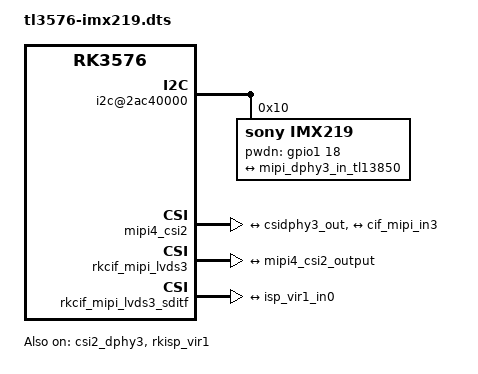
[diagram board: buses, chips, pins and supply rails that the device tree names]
/dts-v1/;
/plugin/;

/ {
    compatible = "rockchip,rk3576";

    // 1. 动态创建IMX219参考时钟（唯一需要新增的节点，因基础设备树无此时钟）
    fragment@0 {
        target-path = "/";  // 向根节点添加新时钟
        __overlay__ {
            // 关键：添加label（imx219_clk:），确保后续可通过&imx219_clk引用
            imx219_clk: imx219-clk {
                compatible = "fixed-clock";
                #clock-cells = <0>;
                clock-frequency = <24000000>;  // 24MHz
                clock-output-names = "imx219_clk";
                status = "okay";
            };
        };
    };

    // 2. 修改基础设备树中的I2C1节点（启用+添加摄像头子节点）
    fragment@1 {
        // 关键：target指向基础设备树中的i2c1节点（需确认基础设备树中该节点存在）
        // 若基础设备树中i2c1的路径是/i2c@2ac40000，需改为target-path = "/i2c@2ac40000"
        // target = <&i2c1>;
        target-path = "/i2c@2ac40000";
        __overlay__ {
            status = "okay";  // 启用I2C1控制器
            #address-cells = <1>;
            #size-cells = <0>;

            // 向I2C1节点添加IMX219摄像头子节点（这是合法的overlay修改）
            imx219@10 {
                status = "okay";
                compatible = "sony,imx219";
                reg = <0x10>;  // 摄像头I2C地址
                clocks = <&imx219_clk>;  // 引用上面定义的时钟（label有效）
                clock-names = "xclk";
                pwdn-gpios = <&gpio1 18 0>;  // 确认GPIO引脚与硬件匹配
                power-domains = <&power 15>;
                rockchip,camera-module-index = <1>;
                rockchip,camera-module-facing = "back";
                rockchip,camera-module-name = "CMK-OT1980-PX1";
                rockchip,camera-module-lens-name = "SHG102";

                port {
                    #address-cells = <1>;
                    #size-cells = <0>;
                    camera2_out: endpoint@0 {
                        reg = <0>;
                        link-frequencies = /bits/ 64 <456000000>;
                        remote-endpoint = <&mipi_dphy3_in_tl13850>;  // 引用DPHY的输入端点
                        data-lanes = <1 2 3 4>;  // 2条MIPI数据通道
                    };
                };
            };
        };
    };

    // 3. 修改基础设备树中的csi2_dphy3节点（启用+配置端口）
    fragment@2 {
        target = <&csi2_dphy3>;  // 指向基础设备树中的MIPI DPHY3节点
        __overlay__ {
            status = "okay";  // 启用DPHY3
            ports {
                #address-cells = <1>;
                #size-cells = <0>;
                port@0 {
                    reg = <0>;
                    #address-cells = <1>;
                    #size-cells = <0>;
                    mipi_dphy3_in_tl13850: endpoint@0 {
                    reg = <0>;
                    remote-endpoint = <&camera2_out>;
                    data-lanes = <1 2 3 4>;
                    };
                };
                port@1 {
                    reg = <1>;
                    #address-cells = <1>;
                    #size-cells = <0>;
                    csidphy3_out: endpoint@0 {
                            reg = <0>;
                            remote-endpoint = <&mipi4_csi2_input>;
                    };
                };
            };
        };
    };

    // 4. 修改基础设备树中的mipi4_csi2节点（启用+配置端口）
    fragment@3 {
        target = <&mipi4_csi2>;  // 指向基础设备树中的MIPI CSI2控制器节点
        __overlay__ {
            status = "okay";  // 启用CSI2控制器
            ports {
                #address-cells = <1>;
                #size-cells = <0>;
                 port@0 {
                    reg = <0>;
                    #address-cells = <1>;
                    #size-cells = <0>;
                    mipi4_csi2_input: endpoint@0 {
                            reg = <0>;
                            remote-endpoint = <&csidphy3_out>;
                    };
                };
                port@1 {
                    reg = <1>;
                    #address-cells = <1>;
                    #size-cells = <0>;
                    mipi4_csi2_output: endpoint@0 {
                            reg = <0>;
                            remote-endpoint = <&cif_mipi_in3>;
                    };
                };
            };
        };
    };

    // 5. 修改基础设备树中的rkcif_mipi_lvds3节点（启用+配置端口）
    fragment@4 {
        target = <&rkcif_mipi_lvds3>;  // 指向基础设备树中的CIF节点
        __overlay__ {
            status = "okay";  // 启用CIF
            ports {
                #address-cells = <1>;
                #size-cells = <0>;
                port@0{
                    reg = <0>;
                    #address-cells = <1>;
                    #size-cells = <0>;
                    cif_mipi_in3: endpoint@0 {
                     reg = <0>;
                    remote-endpoint = <&mipi4_csi2_output>;  // 关联CSI2的输出端点
                    };
                };
            };
        };
    };

    // 6. 修改基础设备树中的rkcif_mipi_lvds3_sditf节点（启用+配置端口）
    fragment@5 {
        target = <&rkcif_mipi_lvds3_sditf>;  // 指向基础设备树中的CIF SDITF节点
        __overlay__ {
            status = "okay";  // 启用SDITF
            port {
                #address-cells = <1>;
                #size-cells = <0>;
                mipi_lvds3_sditf: endpoint {
                    remote-endpoint = <&isp_vir1_in0>;  // 关联ISP的输入端点
                };
            };
        };
    };

    // 7. 修改基础设备树中的rkisp_vir1节点（启用+配置端口）
    fragment@6 {
        target = <&rkisp_vir1>;  // 指向基础设备树中的ISP虚拟节点
        __overlay__ {
            status = "okay";  // 启用ISP VIR1
            port {
                #address-cells = <1>;
                #size-cells = <0>;
                isp_vir1_in0: endpoint@0 {
                        reg = <0>;
                        remote-endpoint = <&mipi_lvds3_sditf>;
                };
            };
        };
    };
};
